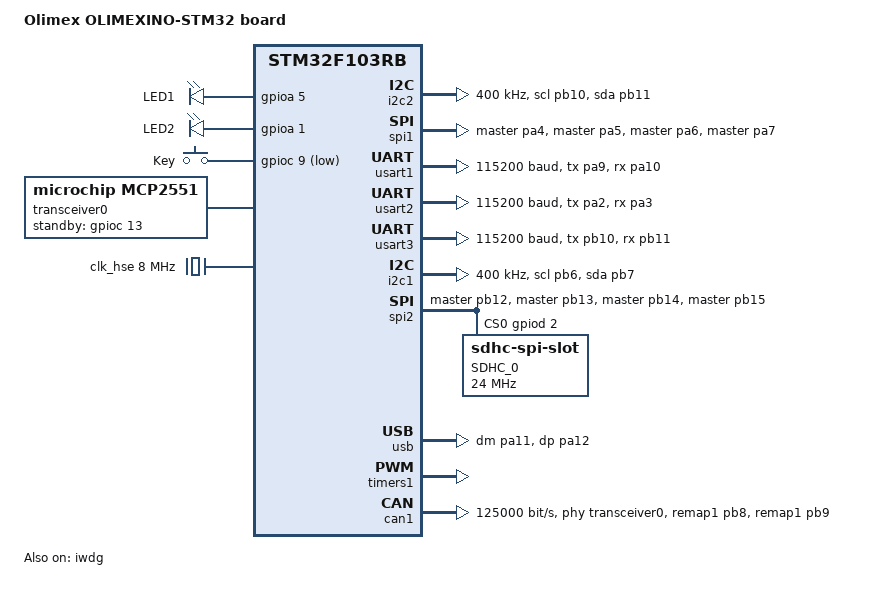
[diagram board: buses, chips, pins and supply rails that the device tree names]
/*
 * Copyright (c) 2017 I-SENSE group of ICCS
 *
 * SPDX-License-Identifier: Apache-2.0
 */

/dts-v1/;
#include <st/f1/stm32f103Xb.dtsi>
#include <st/f1/stm32f103r(8-b)tx-pinctrl.dtsi>

/ {
	model = "Olimex OLIMEXINO-STM32 board";
	compatible = "olimex,olimexino_stm32", "st,stm32f103rb";

	chosen {
		zephyr,console = &usart1;
		zephyr,shell-uart = &usart1;
		zephyr,sram = &sram0;
		zephyr,flash = &flash0;
		zephyr,canbus = &can1;
	};

	leds {
		compatible = "gpio-leds";
		green_led_1: led_1 {
			gpios = <&gpioa 5 GPIO_ACTIVE_HIGH>;
			label = "LED1";
		};
		yellow_led_2: led_2 {
			gpios = <&gpioa 1 GPIO_ACTIVE_HIGH>;
			label = "LED2";
		};
	};

	gpio_keys {
		compatible = "gpio-keys";
		user_button: button {
			label = "Key";
			gpios = <&gpioc 9 GPIO_ACTIVE_LOW>;
		};
	};

	transceiver0: can-phy0 {
		compatible = "microchip,mcp2551", "can-transceiver-gpio";
		max-bitrate = <1000000>;
		standby-gpios = <&gpioc 13 GPIO_ACTIVE_HIGH>;
		#phy-cells = <0>;
	};

	aliases {
		led0 = &green_led_1;
		led1 = &yellow_led_2;
		sw0 = &user_button;
	};
};

&clk_hse {
	clock-frequency = <DT_FREQ_M(8)>;
	status = "okay";
};

&pll {
	mul = <9>;
	clocks = <&clk_hse>;
	status = "okay";
};

&rcc {
	clocks = <&pll>;
	clock-frequency = <DT_FREQ_M(72)>;
	ahb-prescaler = <1>;
	apb1-prescaler = <2>;
	apb2-prescaler = <1>;
};

uext_i2c: &i2c2 {};
uext_spi: &spi1 {};
uext_serial: &usart1 {};

&usart1 {
	pinctrl-0 = <&usart1_tx_pa9 &usart1_rx_pa10>;
	pinctrl-names = "default";
	current-speed = <115200>;
	status = "okay";
};

&usart2 {
	pinctrl-0 = <&usart2_tx_pa2 &usart2_rx_pa3>;
	pinctrl-names = "default";
	current-speed = <115200>;
};

&usart3 {
	pinctrl-0 = <&usart3_tx_pb10 &usart3_rx_pb11>;
	pinctrl-names = "default";
	current-speed = <115200>;
};

&i2c1 {
	pinctrl-0 = <&i2c1_scl_pb6 &i2c1_sda_pb7>;
	pinctrl-names = "default";
	status = "okay";
	clock-frequency = <I2C_BITRATE_FAST>;
};

&i2c2 {
	pinctrl-0 = <&i2c2_scl_pb10 &i2c2_sda_pb11>;
	pinctrl-names = "default";
	status = "okay";
	clock-frequency = <I2C_BITRATE_FAST>;
};

&spi1 {
	pinctrl-0 = <&spi1_nss_master_pa4 &spi1_sck_master_pa5
		      &spi1_miso_master_pa6 &spi1_mosi_master_pa7>;
	pinctrl-names = "default";
	status = "okay";
};

&spi2 {
	pinctrl-0 = <&spi2_nss_master_pb12 &spi2_sck_master_pb13
		      &spi2_miso_master_pb14 &spi2_mosi_master_pb15>;
	pinctrl-names = "default";
	status = "okay";
	cs-gpios = <&gpiod 2 GPIO_ACTIVE_HIGH>;

	sdhc0: sdhc@0 {
		compatible = "zephyr,sdhc-spi-slot";
		reg = <0>;
		status = "okay";
		label = "SDHC_0";
		spi-max-frequency = <24000000>;
		mmc {
			compatible = "zephyr,sdmmc-disk";
			status = "okay";
		};
	};
};

zephyr_udc0: &usb {
	status = "okay";
	disconnect-gpios = <&gpioc 12 GPIO_ACTIVE_LOW>;
	pinctrl-0 = <&usb_dm_pa11 &usb_dp_pa12>;
	pinctrl-names = "default";
};

&timers1 {
	st,prescaler = <10000>;
	status = "okay";

	pwm1: pwm {
		status = "okay";
		pinctrl-0 = <&tim1_ch1_pwm_pa8>;
		pinctrl-names = "default";
	};
};

&iwdg {
	status = "okay";
};

&can1 {
	pinctrl-0 = <&can_rx_remap1_pb8 &can_tx_remap1_pb9>;
	pinctrl-names = "default";
	bus-speed = <125000>;
	phys = <&transceiver0>;
	status = "okay";
};
